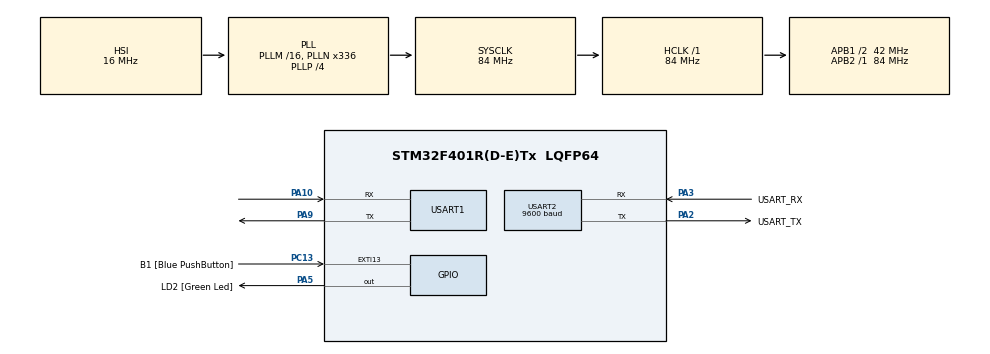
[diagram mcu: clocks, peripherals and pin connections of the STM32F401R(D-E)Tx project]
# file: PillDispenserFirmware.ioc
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FREERTOS.Queues01=myQueue01,16,uint16_t,0,Dynamic,NULL,NULL
FREERTOS.Tasks01=defaultTask,24,128,StartDefaultTask,Default,NULL,Dynamic,NULL,NULL
FREERTOS.Timers01=myTimer01,Callback01,osTimerPeriodic,Default,NULL,Dynamic,NULL
Mcu.Family=STM32F4
Mcu.Name=STM32F401R(D-E)Tx
Mcu.Package=LQFP64
NVIC.PriorityGroup=NVIC_PRIORITYGROUP_4
NVIC.TIM1_TRG_COM_TIM11_IRQn=true\:0\:0\:false\:false\:true\:false\:false\:true
NVIC.TimeBase=TIM1_TRG_COM_TIM11_IRQn
NVIC.TimeBaseIP=TIM11
NVIC.USART1_IRQn=true\:5\:0\:false\:false\:true\:true\:true\:true
NVIC.USART2_IRQn=true\:5\:0\:false\:false\:true\:true\:true\:true
PA10.Mode=Asynchronous
PA10.Signal=USART1_RX
PA13.GPIO_Label=TMS
PA13.Mode=Serial_Wire
PA13.Signal=SYS_JTMS-SWDIO
PA14.GPIO_Label=TCK
PA14.Mode=Serial_Wire
PA14.Signal=SYS_JTCK-SWCLK
PA2.GPIO_Label=USART_TX
PA2.GPIO_Mode=GPIO_MODE_AF_PP
PA2.GPIO_PuPd=GPIO_NOPULL
PA2.GPIO_Speed=GPIO_SPEED_FREQ_LOW
PA2.Mode=Asynchronous
PA2.Signal=USART2_TX
PA3.GPIO_Label=USART_RX
PA3.GPIO_Mode=GPIO_MODE_AF_PP
PA3.GPIO_PuPd=GPIO_NOPULL
PA3.GPIO_Speed=GPIO_SPEED_FREQ_LOW
PA3.Mode=Asynchronous
PA3.Signal=USART2_RX
PA5.GPIO_Label=LD2 [Green Led]
PA5.GPIO_Mode=GPIO_MODE_OUTPUT_PP
PA5.GPIO_PuPd=GPIO_NOPULL
PA5.GPIO_Speed=GPIO_SPEED_FREQ_LOW
PA5.Signal=GPIO_Output
PA9.Mode=Asynchronous
PA9.Signal=USART1_TX
PB3.GPIO_Label=SWO
PB3.Signal=SYS_JTDO-SWO
PC13-ANTI_TAMP.GPIO_Label=B1 [Blue PushButton]
PC13-ANTI_TAMP.GPIO_ModeDefaultEXTI=GPIO_MODE_IT_FALLING
PC13-ANTI_TAMP.GPIO_PuPd=GPIO_NOPULL
PC13-ANTI_TAMP.Signal=GPXTI13
PC14-OSC32_IN.Mode=LSE-External-Oscillator
PC14-OSC32_IN.Signal=RCC_OSC32_IN
PC15-OSC32_OUT.Mode=LSE-External-Oscillator
PC15-OSC32_OUT.Signal=RCC_OSC32_OUT
PH0\ -\ OSC_IN.Mode=HSE-External-Clock-Source
PH0\ -\ OSC_IN.Signal=RCC_OSC_IN
PH1\ -\ OSC_OUT.Mode=HSE-External-Clock-Source
PH1\ -\ OSC_OUT.Signal=RCC_OSC_OUT
ProjectManager.HeapSize=0x200
ProjectManager.StackSize=0x400
ProjectManager.TargetToolchain=SW4STM32
RCC.48MHZClocksFreq_Value=48000000
RCC.AHBFreq_Value=84000000
RCC.APB1CLKDivider=RCC_HCLK_DIV2
RCC.APB1Freq_Value=42000000
RCC.APB1TimFreq_Value=84000000
RCC.APB2Freq_Value=84000000
RCC.APB2TimFreq_Value=84000000
RCC.CortexFreq_Value=84000000
RCC.HCLKFreq_Value=84000000
RCC.HSE_VALUE=8000000
RCC.HSI_VALUE=16000000
RCC.PLLN=336
RCC.PLLP=RCC_PLLP_DIV4
RCC.PLLQ=7
RCC.SYSCLKFreq_VALUE=84000000
RCC.SYSCLKSource=RCC_SYSCLKSOURCE_PLLCLK
RCC.VCOOutputFreq_Value=336000000
USART1.VirtualMode=VM_ASYNC
USART2.BaudRate=9600
USART2.VirtualMode=VM_ASYNC
VP_FREERTOS_VS_CMSIS_V2.Mode=CMSIS_V2
VP_SYS_VS_tim11.Mode=TIM11
board=NUCLEO-F401RE

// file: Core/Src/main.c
/* USER CODE BEGIN Header */
/**
  ******************************************************************************
  * @file           : main.c
  * @brief          : Main program body
  ******************************************************************************
  * @attention
  *
  * <h2><center>&copy; Copyright (c) 2021 STMicroelectronics.
  * All rights reserved.</center></h2>
  *
  * This software component is licensed by ST under Ultimate Liberty license
  * SLA0044, the "License"; You may not use this file except in compliance with
  * the License. You may obtain a copy of the License at:
  *                             www.st.com/SLA0044
  *
  ******************************************************************************
  */
/* USER CODE END Header */
#include "main.h"
#include "cmsis_os.h"

/* USER CODE BEGIN Includes */
#include <string.h>
/* USER CODE END Includes */

UART_HandleTypeDef huart1;
UART_HandleTypeDef huart2;

/* Definitions for defaultTask */
osThreadId_t defaultTaskHandle;
const osThreadAttr_t defaultTask_attributes = {
  .name = "defaultTask",
  .priority = (osPriority_t) osPriorityNormal,
  .stack_size = 128 * 4
};
/* Definitions for myQueue01 */
osMessageQueueId_t myQueue01Handle;
const osMessageQueueAttr_t myQueue01_attributes = {
  .name = "myQueue01"
};
/* Definitions for myTimer01 */
osTimerId_t myTimer01Handle;
const osTimerAttr_t myTimer01_attributes = {
  .name = "myTimer01"
};
/* USER CODE BEGIN PV */
#define BUFFER_LEN  12
uint8_t UART2_rxBuffer[BUFFER_LEN] = {0};
uint8_t UART1_rxBuffer[BUFFER_LEN] = {0};

/* USER CODE END PV */

void SystemClock_Config(void);
static void MX_GPIO_Init(void);
static void MX_USART2_UART_Init(void);
static void MX_USART1_UART_Init(void);
void StartDefaultTask(void *argument);
void Callback01(void *argument);

int main(void)
{

  /* MCU Configuration--------------------------------------------------------*/

  /* Reset of all peripherals, Initializes the Flash interface and the Systick. */
  HAL_Init();

  /* Configure the system clock */
  SystemClock_Config();

  /* Initialize all configured peripherals */
  MX_GPIO_Init();
  MX_USART2_UART_Init();
  MX_USART1_UART_Init();
  /* USER CODE BEGIN 2 */
  HAL_UART_Receive_IT(&huart1, UART1_rxBuffer, BUFFER_LEN);

  /* USER CODE END 2 */

  /* Init scheduler */
  osKernelInitialize();

  /* Create the timer(s) */
  /* creation of myTimer01 */
  myTimer01Handle = osTimerNew(Callback01, osTimerPeriodic, NULL, &myTimer01_attributes);

  /* Create the queue(s) */
  /* creation of myQueue01 */
  myQueue01Handle = osMessageQueueNew (16, sizeof(uint16_t), &myQueue01_attributes);

  /* Create the thread(s) */
  /* creation of defaultTask */
  defaultTaskHandle = osThreadNew(StartDefaultTask, NULL, &defaultTask_attributes);

  /* Start scheduler */
  osKernelStart();

  /* We should never get here as control is now taken by the scheduler */
  /* Infinite loop */
  while (1)
  {

  }
}

void SystemClock_Config(void)
{
  RCC_OscInitTypeDef RCC_OscInitStruct = {0};
  RCC_ClkInitTypeDef RCC_ClkInitStruct = {0};

  /** Configure the main internal regulator output voltage
  */
  __HAL_RCC_PWR_CLK_ENABLE();
  __HAL_PWR_VOLTAGESCALING_CONFIG(PWR_REGULATOR_VOLTAGE_SCALE2);
  /** Initializes the RCC Oscillators according to the specified parameters
  * in the RCC_OscInitTypeDef structure.
  */
  RCC_OscInitStruct.OscillatorType = RCC_OSCILLATORTYPE_HSI;
  RCC_OscInitStruct.HSIState = RCC_HSI_ON;
  RCC_OscInitStruct.HSICalibrationValue = RCC_HSICALIBRATION_DEFAULT;
  RCC_OscInitStruct.PLL.PLLState = RCC_PLL_ON;
  RCC_OscInitStruct.PLL.PLLSource = RCC_PLLSOURCE_HSI;
  RCC_OscInitStruct.PLL.PLLM = 16;
  RCC_OscInitStruct.PLL.PLLN = 336;
  RCC_OscInitStruct.PLL.PLLP = RCC_PLLP_DIV4;
  RCC_OscInitStruct.PLL.PLLQ = 7;
  if (HAL_RCC_OscConfig(&RCC_OscInitStruct) != HAL_OK)
  {
    Error_Handler();
  }
  /** Initializes the CPU, AHB and APB buses clocks
  */
  RCC_ClkInitStruct.ClockType = RCC_CLOCKTYPE_HCLK|RCC_CLOCKTYPE_SYSCLK
                              |RCC_CLOCKTYPE_PCLK1|RCC_CLOCKTYPE_PCLK2;
  RCC_ClkInitStruct.SYSCLKSource = RCC_SYSCLKSOURCE_PLLCLK;
  RCC_ClkInitStruct.AHBCLKDivider = RCC_SYSCLK_DIV1;
  RCC_ClkInitStruct.APB1CLKDivider = RCC_HCLK_DIV2;
  RCC_ClkInitStruct.APB2CLKDivider = RCC_HCLK_DIV1;

  if (HAL_RCC_ClockConfig(&RCC_ClkInitStruct, FLASH_LATENCY_2) != HAL_OK)
  {
    Error_Handler();
  }
}

static void MX_USART1_UART_Init(void)
{

  huart1.Instance = USART1;
  huart1.Init.BaudRate = 115200;
  huart1.Init.WordLength = UART_WORDLENGTH_8B;
  huart1.Init.StopBits = UART_STOPBITS_1;
  huart1.Init.Parity = UART_PARITY_NONE;
  huart1.Init.Mode = UART_MODE_TX_RX;
  huart1.Init.HwFlowCtl = UART_HWCONTROL_NONE;
  huart1.Init.OverSampling = UART_OVERSAMPLING_16;
  if (HAL_UART_Init(&huart1) != HAL_OK)
  {
    Error_Handler();
  }

}

static void MX_USART2_UART_Init(void)
{

  huart2.Instance = USART2;
  huart2.Init.BaudRate = 9600;
  huart2.Init.WordLength = UART_WORDLENGTH_8B;
  huart2.Init.StopBits = UART_STOPBITS_1;
  huart2.Init.Parity = UART_PARITY_NONE;
  huart2.Init.Mode = UART_MODE_TX_RX;
  huart2.Init.HwFlowCtl = UART_HWCONTROL_NONE;
  huart2.Init.OverSampling = UART_OVERSAMPLING_16;
  if (HAL_UART_Init(&huart2) != HAL_OK)
  {
    Error_Handler();
  }

}

static void MX_GPIO_Init(void)
{
  GPIO_InitTypeDef GPIO_InitStruct = {0};

  /* GPIO Ports Clock Enable */
  __HAL_RCC_GPIOC_CLK_ENABLE();
  __HAL_RCC_GPIOH_CLK_ENABLE();
  __HAL_RCC_GPIOA_CLK_ENABLE();
  __HAL_RCC_GPIOB_CLK_ENABLE();

  /*Configure GPIO pin Output Level */
  HAL_GPIO_WritePin(LD2_GPIO_Port, LD2_Pin, GPIO_PIN_RESET);

  /*Configure GPIO pin : B1_Pin */
  GPIO_InitStruct.Pin = B1_Pin;
  GPIO_InitStruct.Mode = GPIO_MODE_IT_FALLING;
  GPIO_InitStruct.Pull = GPIO_NOPULL;
  HAL_GPIO_Init(B1_GPIO_Port, &GPIO_InitStruct);

  /*Configure GPIO pin : LD2_Pin */
  GPIO_InitStruct.Pin = LD2_Pin;
  GPIO_InitStruct.Mode = GPIO_MODE_OUTPUT_PP;
  GPIO_InitStruct.Pull = GPIO_NOPULL;
  GPIO_InitStruct.Speed = GPIO_SPEED_FREQ_LOW;
  HAL_GPIO_Init(LD2_GPIO_Port, &GPIO_InitStruct);

}

/* USER CODE BEGIN 4 */

void debugPrint(UART_HandleTypeDef *huart, char _out[]){
 HAL_UART_Transmit(huart, (uint8_t *) _out, strlen(_out), 10);
}

void debugPrintln(UART_HandleTypeDef *huart, char _out[]){
 HAL_UART_Transmit(huart, (uint8_t *) _out, strlen(_out), 10);
 char newline[2] = "\r\n";
 HAL_UART_Transmit(huart, (uint8_t *) newline, 2, 10);
}

void HAL_UART_RxCpltCallback(UART_HandleTypeDef *huart)
{
	debugPrint(&huart2, "Receb");
	HAL_UART_Transmit(&huart2, UART1_rxBuffer, BUFFER_LEN, 10);
	debugPrintln(&huart2, "");
	HAL_UART_Receive_IT(&huart1, UART1_rxBuffer, BUFFER_LEN);
}

/* USER CODE END 4 */

void StartDefaultTask(void *argument)
{
  /* USER CODE BEGIN 5 */
  /* Infinite loop */
  HAL_GPIO_WritePin(GPIOA, GPIO_PIN_5, 1);
  debugPrintln(&huart2, "Iniciando");
  for(;;)
  {

  }
  /* USER CODE END 5 */
}

/* Callback01 function */
void Callback01(void *argument)
{
}

 /**
  * @brief  Period elapsed callback in non blocking mode
  * @note   This function is called  when TIM11 interrupt took place, inside
  * HAL_TIM_IRQHandler(). It makes a direct call to HAL_IncTick() to increment
  * a global variable "uwTick" used as application time base.
  * @param  htim : TIM handle
  * @retval None
  */
void HAL_TIM_PeriodElapsedCallback(TIM_HandleTypeDef *htim)
{
  if (htim->Instance == TIM11) {
    HAL_IncTick();
  }
}

void Error_Handler(void)
{
  __disable_irq();
  while (1)
  {
  }
}

/************************ (C) COPYRIGHT STMicroelectronics *****END OF FILE****/
